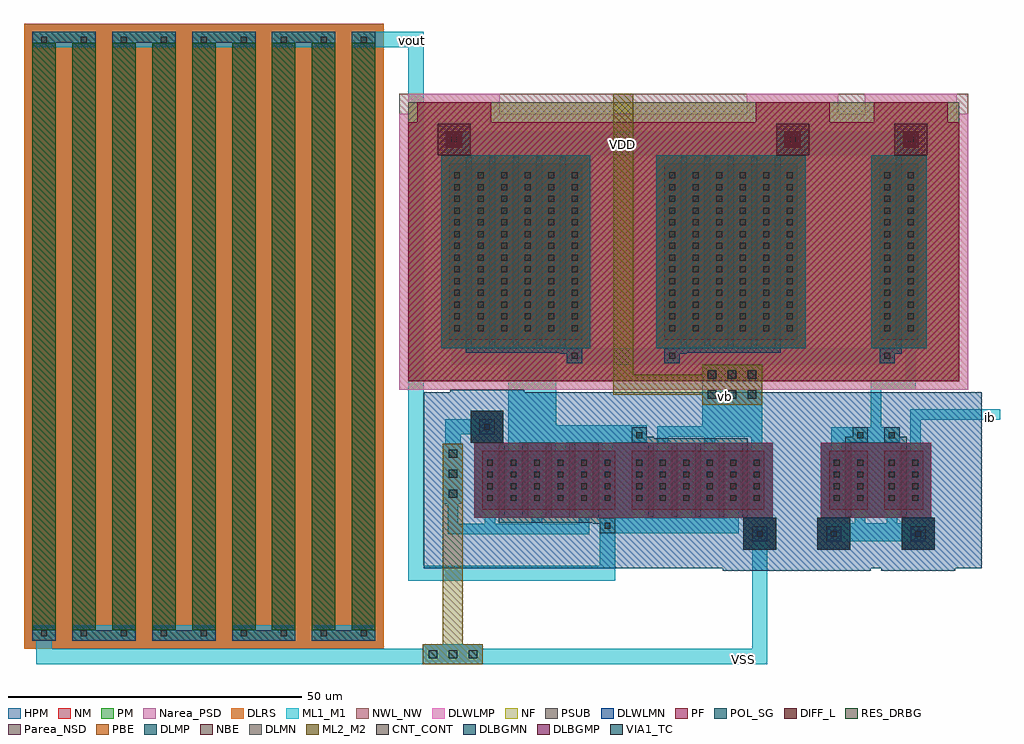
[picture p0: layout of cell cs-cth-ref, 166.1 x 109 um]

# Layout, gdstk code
from math import pi, radians
import gdstk
lib = gdstk.Library(unit=1e-6, precision=1e-07)
def R(c, l, rs):  # rectangles x0, y0, x1, y1
    for r in rs: c.add(gdstk.rectangle(r[:2], r[2:], *l))
def A(c, l, x, y, w, h, nx, ny, dx, dy):  # array of equal rectangles
    R(c, l, [(x+i*dx, y+j*dy, x+i*dx+w, y+j*dy+h) for i in range(nx) for j in range(ny)])
DIFF_L = (3, 0)
NM = (7, 0)
POL_SG = (8, 0)
Narea_PSD = (9, 0)
CNT_CONT = (11, 0)
ML1_M1 = (13, 0)
VIA1_TC = (19, 0)
ML2_M2 = (20, 0)
NF = (25, 0)
PF = (26, 0)
Parea_NSD = (28, 0)
HPM = (33, 0)
PM = (35, 0)
NWL_NW = (36, 0)
RES_DRBG = (118, 0)
PSUB = (140, 0)
PBE = (146, 0)
NBE = (147, 0)
DLWLMP = (150, 0)
DLWLMN = (151, 0)
DLMP = (157, 0)
DLMN = (158, 0)
DLRS = (165, 0)
DLBGMP = (177, 0)
DLBGMN = (178, 0)

dcont = lib.new_cell('dcont')
R(dcont, DIFF_L, [(-1.3,-1.3,1.3,1.3)])
R(dcont, CNT_CONT, [(-0.5,-0.5,0.5,0.5)])
R(dcont, ML1_M1, [(-1.3,-1.3,1.3,1.3), (-0.5,-0.5,0.5,0.5)])

pcont = lib.new_cell('pcont')
R(pcont, POL_SG, [(-1.3,-1.3,1.3,1.3)])
R(pcont, CNT_CONT, [(-0.5,-0.5,0.5,0.5)])
R(pcont, ML1_M1, [(-1.3,-1.3,1.3,1.3), (-0.5,-0.5,0.5,0.5)])

c_dcont = lib.new_cell('DCONT')
R(c_dcont, DIFF_L, [(-1.3,-1.3,1.3,1.3)])
R(c_dcont, CNT_CONT, [(-0.5,-0.5,0.5,0.5)])
R(c_dcont, ML1_M1, [(-1.3,-1.3,1.3,1.3), (-0.5,-0.5,0.5,0.5)])

psubcont = lib.new_cell('psubcont')
R(psubcont, NM, [(-2.8,-2.7,2.8,2.7)])
R(psubcont, Parea_NSD, [(-2.8,-2.7,2.8,2.7)])
R(psubcont, HPM, [(-2.8,-2.7,2.8,2.7)])
R(psubcont, PM, [(-2.8,-2.7,2.8,2.7)])
R(psubcont, DLWLMN, [(-6.3,-6.3,6.3,6.3)])
R(psubcont, DLBGMN, [(-2.8,-2.7,2.8,2.7)])
psubcont.add(gdstk.Reference(c_dcont, (0,0)))

c_mn = lib.new_cell('MN')
R(c_mn, DIFF_L, [(0,3.6,6.6,13.6)])
R(c_mn, Narea_PSD, [(-1.4,2.2,8,15)])
R(c_mn, HPM, [(-1.4,2.2,8,15)])
R(c_mn, PM, [(-1.4,2.2,8,15)])
R(c_mn, NBE, [(-1.4,2.2,8,15)])
R(c_mn, DLWLMN, [(-10,-6.4,16.6,23.6)])
R(c_mn, DLMN, [(-1.4,2.2,8,15)])
c_mn.add(gdstk.FlexPath([(1.3,3.6),(1.3,13.6)], 2.6, ends="flush", simple_path=True, layer=13, datatype=0))  # ML1_M1
c_mn.add(gdstk.FlexPath([(5.3,3.6),(5.3,13.6)], 2.6, ends="flush", simple_path=True, layer=13, datatype=0))  # ML1_M1
c_mn.add(gdstk.FlexPath([(1.3,1.3),(1.3,4.6)], 1.8, ends="flush", simple_path=True, layer=13, datatype=0))  # ML1_M1
c_mn.add(gdstk.FlexPath([(5.3,12.6),(5.3,15.9)], 1.8, ends="flush", simple_path=True, layer=13, datatype=0))  # ML1_M1
c_mn.add(gdstk.FlexPath([(3.3,3.6),(3.3,13.6)], 1, ends=(1.2, 1.2), simple_path=True, layer=8, datatype=0))  # POL_SG
c_mn.add(gdstk.FlexPath([(1.3,15.5),(3.3,15.5),(3.3,14.8)], 1, ends="flush", simple_path=True, layer=8, datatype=0))  # POL_SG
c_mn.add(gdstk.Reference(dcont, (1.3,5.6)))
c_mn.add(gdstk.Reference(dcont, (1.3,7.6)))
c_mn.add(gdstk.Reference(dcont, (1.3,9.6)))
c_mn.add(gdstk.Reference(dcont, (1.3,11.6)))
c_mn.add(gdstk.Reference(dcont, (5.3,5.6)))
c_mn.add(gdstk.Reference(dcont, (5.3,7.6)))
c_mn.add(gdstk.Reference(dcont, (5.3,9.6)))
c_mn.add(gdstk.Reference(dcont, (5.3,11.6)))
c_mn.add(gdstk.Reference(pcont, (1.3,16.3)))
c_mn.add(gdstk.Reference(psubcont, (5.8,-0.5)))

nsubcont = lib.new_cell('nsubcont')
R(nsubcont, NM, [(-2.8,-2.7,2.8,2.7)])
R(nsubcont, Narea_PSD, [(-2.8,-2.7,2.8,2.7)])
R(nsubcont, NF, [(-6.3,-6.3,6.3,6.3)])
R(nsubcont, PF, [(-6.3,-6.3,6.3,6.3)])
R(nsubcont, HPM, [(-2.8,-2.7,2.8,2.7)])
R(nsubcont, PM, [(-2.8,-2.7,2.8,2.7)])
R(nsubcont, NWL_NW, [(-7.8,-7.8,7.8,7.8)])
R(nsubcont, PSUB, [(-6.3,-6.3,6.3,6.3)])
R(nsubcont, DLWLMP, [(-7.8,-7.8,7.8,7.8)])
R(nsubcont, DLBGMP, [(-2.8,-2.7,2.8,2.7)])
nsubcont.add(gdstk.Reference(c_dcont, (0,0)))

mp_1 = lib.new_cell('MP$1')
R(mp_1, DIFF_L, [(0,3.6,6.6,33.6)])
R(mp_1, NM, [(-1.4,2.2,8,35)])
R(mp_1, NF, [(-7,-3.4,13.6,40.6)])
R(mp_1, PF, [(-7,-3.4,13.6,40.6)])
R(mp_1, Parea_NSD, [(-1.4,2.2,8,35)])
R(mp_1, HPM, [(-1.4,2.2,8,35)])
R(mp_1, NWL_NW, [(-8.5,-4.9,15.1,42.1)])
R(mp_1, PSUB, [(-7,-3.4,13.6,40.6)])
R(mp_1, PBE, [(-1.4,2.2,8,35)])
R(mp_1, DLWLMP, [(-8.5,-4.9,15.1,42.1)])
R(mp_1, DLMP, [(-1.4,2.2,8,35)])
mp_1.add(gdstk.FlexPath([(1.3,3.6),(1.3,33.6)], 2.6, ends="flush", simple_path=True, layer=13, datatype=0))  # ML1_M1
mp_1.add(gdstk.FlexPath([(5.3,3.6),(5.3,33.6)], 2.6, ends="flush", simple_path=True, layer=13, datatype=0))  # ML1_M1
mp_1.add(gdstk.FlexPath([(1.3,32.6),(1.3,35.9)], 1.8, ends="flush", simple_path=True, layer=13, datatype=0))  # ML1_M1
mp_1.add(gdstk.FlexPath([(5.3,1.3),(5.3,4.6)], 1.8, ends="flush", simple_path=True, layer=13, datatype=0))  # ML1_M1
mp_1.add(gdstk.FlexPath([(3.3,3.6),(3.3,33.6)], 1, ends=(1.2, 1.2), simple_path=True, layer=8, datatype=0))  # POL_SG
mp_1.add(gdstk.FlexPath([(1.3,1.7),(3.3,1.7),(3.3,2.4)], 1, ends="flush", simple_path=True, layer=8, datatype=0))  # POL_SG
mp_1.add(gdstk.Reference(dcont, (1.3,5.6)))
mp_1.add(gdstk.Reference(dcont, (1.3,7.6)))
mp_1.add(gdstk.Reference(dcont, (1.3,9.6)))
mp_1.add(gdstk.Reference(dcont, (1.3,11.6)))
mp_1.add(gdstk.Reference(dcont, (1.3,13.6)))
mp_1.add(gdstk.Reference(dcont, (1.3,15.6)))
mp_1.add(gdstk.Reference(dcont, (1.3,17.6)))
mp_1.add(gdstk.Reference(dcont, (1.3,19.6)))
mp_1.add(gdstk.Reference(dcont, (1.3,21.6)))
mp_1.add(gdstk.Reference(dcont, (1.3,23.6)))
mp_1.add(gdstk.Reference(dcont, (1.3,25.6)))
mp_1.add(gdstk.Reference(dcont, (1.3,27.6)))
mp_1.add(gdstk.Reference(dcont, (1.3,29.6)))
mp_1.add(gdstk.Reference(dcont, (1.3,31.6)))
mp_1.add(gdstk.Reference(dcont, (5.3,5.6)))
mp_1.add(gdstk.Reference(dcont, (5.3,7.6)))
mp_1.add(gdstk.Reference(dcont, (5.3,9.6)))
mp_1.add(gdstk.Reference(dcont, (5.3,11.6)))
mp_1.add(gdstk.Reference(dcont, (5.3,13.6)))
mp_1.add(gdstk.Reference(dcont, (5.3,15.6)))
mp_1.add(gdstk.Reference(dcont, (5.3,17.6)))
mp_1.add(gdstk.Reference(dcont, (5.3,19.6)))
mp_1.add(gdstk.Reference(dcont, (5.3,21.6)))
mp_1.add(gdstk.Reference(dcont, (5.3,23.6)))
mp_1.add(gdstk.Reference(dcont, (5.3,25.6)))
mp_1.add(gdstk.Reference(dcont, (5.3,27.6)))
mp_1.add(gdstk.Reference(dcont, (5.3,29.6)))
mp_1.add(gdstk.Reference(dcont, (5.3,31.6)))
mp_1.add(gdstk.Reference(pcont, (1.3,0.9)))
mp_1.add(gdstk.Reference(nsubcont, (5.3,37.7)))

mn_1 = lib.new_cell('MN$1')
R(mn_1, DIFF_L, [(0,3.6,22.6,13.6)])
R(mn_1, Narea_PSD, [(-1.4,2.2,24,15)])
R(mn_1, HPM, [(-1.4,2.2,24,15)])
R(mn_1, PM, [(-1.4,2.2,24,15)])
R(mn_1, NBE, [(-1.4,2.2,24,15)])
R(mn_1, DLWLMN, [(-10,-6.4,32.6,23.6)])
R(mn_1, DLMN, [(-1.4,2.2,24,15)])
mn_1.add(gdstk.FlexPath([(1.3,3.6),(1.3,13.6)], 2.6, ends="flush", simple_path=True, layer=13, datatype=0))  # ML1_M1
mn_1.add(gdstk.FlexPath([(5.3,3.6),(5.3,13.6)], 2.6, ends="flush", simple_path=True, layer=13, datatype=0))  # ML1_M1
mn_1.add(gdstk.FlexPath([(9.3,3.6),(9.3,13.6)], 2.6, ends="flush", simple_path=True, layer=13, datatype=0))  # ML1_M1
mn_1.add(gdstk.FlexPath([(13.3,3.6),(13.3,13.6)], 2.6, ends="flush", simple_path=True, layer=13, datatype=0))  # ML1_M1
mn_1.add(gdstk.FlexPath([(17.3,3.6),(17.3,13.6)], 2.6, ends="flush", simple_path=True, layer=13, datatype=0))  # ML1_M1
mn_1.add(gdstk.FlexPath([(21.3,3.6),(21.3,13.6)], 2.6, ends="flush", simple_path=True, layer=13, datatype=0))  # ML1_M1
mn_1.add(gdstk.FlexPath([(1.3,1.3),(1.3,4.6)], 1.8, ends="flush", simple_path=True, layer=13, datatype=0))  # ML1_M1
mn_1.add(gdstk.FlexPath([(5.3,12.6),(5.3,16.9)], 1.8, ends="flush", simple_path=True, layer=13, datatype=0))  # ML1_M1
mn_1.add(gdstk.FlexPath([(9.3,1.3),(9.3,4.6)], 1.8, ends="flush", simple_path=True, layer=13, datatype=0))  # ML1_M1
mn_1.add(gdstk.FlexPath([(1.3,1.3),(9.3,1.3)], 1.8, ends="extended", simple_path=True, layer=13, datatype=0))  # ML1_M1
mn_1.add(gdstk.FlexPath([(13.3,12.6),(13.3,16.9)], 1.8, ends="flush", simple_path=True, layer=13, datatype=0))  # ML1_M1
mn_1.add(gdstk.FlexPath([(5.3,16.9),(13.3,16.9)], 1.8, ends="extended", simple_path=True, layer=13, datatype=0))  # ML1_M1
mn_1.add(gdstk.FlexPath([(17.3,1.3),(17.3,4.6)], 1.8, ends="flush", simple_path=True, layer=13, datatype=0))  # ML1_M1
mn_1.add(gdstk.FlexPath([(9.3,1.3),(17.3,1.3)], 1.8, ends="extended", simple_path=True, layer=13, datatype=0))  # ML1_M1
mn_1.add(gdstk.FlexPath([(21.3,12.6),(21.3,16.9)], 1.8, ends="flush", simple_path=True, layer=13, datatype=0))  # ML1_M1
mn_1.add(gdstk.FlexPath([(13.3,16.9),(21.3,16.9)], 1.8, ends="extended", simple_path=True, layer=13, datatype=0))  # ML1_M1
mn_1.add(gdstk.FlexPath([(3.3,3.6),(3.3,13.6)], 1, ends=(1.2, 1.2), simple_path=True, layer=8, datatype=0))  # POL_SG
mn_1.add(gdstk.FlexPath([(7.3,3.6),(7.3,13.6)], 1, ends=(1.2, 1.2), simple_path=True, layer=8, datatype=0))  # POL_SG
mn_1.add(gdstk.FlexPath([(11.3,3.6),(11.3,13.6)], 1, ends=(1.2, 1.2), simple_path=True, layer=8, datatype=0))  # POL_SG
mn_1.add(gdstk.FlexPath([(15.3,3.6),(15.3,13.6)], 1, ends=(1.2, 1.2), simple_path=True, layer=8, datatype=0))  # POL_SG
mn_1.add(gdstk.FlexPath([(19.3,3.6),(19.3,13.6)], 1, ends=(1.2, 1.2), simple_path=True, layer=8, datatype=0))  # POL_SG
mn_1.add(gdstk.FlexPath([(1.3,15.5),(3.3,15.5),(3.3,14.8)], 1, ends="flush", simple_path=True, layer=8, datatype=0))  # POL_SG
mn_1.add(gdstk.FlexPath([(2.8,15.3),(7.8,15.3)], 1, ends="flush", simple_path=True, layer=8, datatype=0))  # POL_SG
mn_1.add(gdstk.FlexPath([(6.8,15.3),(11.8,15.3)], 1, ends="flush", simple_path=True, layer=8, datatype=0))  # POL_SG
mn_1.add(gdstk.FlexPath([(10.8,15.3),(15.8,15.3)], 1, ends="flush", simple_path=True, layer=8, datatype=0))  # POL_SG
mn_1.add(gdstk.FlexPath([(14.8,15.3),(19.8,15.3)], 1, ends="flush", simple_path=True, layer=8, datatype=0))  # POL_SG
mn_1.add(gdstk.Reference(dcont, (1.3,5.6)))
mn_1.add(gdstk.Reference(dcont, (1.3,7.6)))
mn_1.add(gdstk.Reference(dcont, (1.3,9.6)))
mn_1.add(gdstk.Reference(dcont, (1.3,11.6)))
mn_1.add(gdstk.Reference(dcont, (5.3,5.6)))
mn_1.add(gdstk.Reference(dcont, (5.3,7.6)))
mn_1.add(gdstk.Reference(dcont, (5.3,9.6)))
mn_1.add(gdstk.Reference(dcont, (5.3,11.6)))
mn_1.add(gdstk.Reference(dcont, (9.3,5.6)))
mn_1.add(gdstk.Reference(dcont, (9.3,7.6)))
mn_1.add(gdstk.Reference(dcont, (9.3,9.6)))
mn_1.add(gdstk.Reference(dcont, (9.3,11.6)))
mn_1.add(gdstk.Reference(dcont, (13.3,5.6)))
mn_1.add(gdstk.Reference(dcont, (13.3,7.6)))
mn_1.add(gdstk.Reference(dcont, (13.3,9.6)))
mn_1.add(gdstk.Reference(dcont, (13.3,11.6)))
mn_1.add(gdstk.Reference(dcont, (17.3,5.6)))
mn_1.add(gdstk.Reference(dcont, (17.3,7.6)))
mn_1.add(gdstk.Reference(dcont, (17.3,9.6)))
mn_1.add(gdstk.Reference(dcont, (17.3,11.6)))
mn_1.add(gdstk.Reference(dcont, (21.3,5.6)))
mn_1.add(gdstk.Reference(dcont, (21.3,7.6)))
mn_1.add(gdstk.Reference(dcont, (21.3,9.6)))
mn_1.add(gdstk.Reference(dcont, (21.3,11.6)))
mn_1.add(gdstk.Reference(pcont, (1.3,16.3)))
mn_1.add(gdstk.Reference(psubcont, (21.8,-0.5)))

c_mp = lib.new_cell('MP')
R(c_mp, DIFF_L, [(0,3.6,22.6,33.6)])
R(c_mp, NM, [(-1.4,2.2,24,35)])
R(c_mp, NF, [(-7,-3.4,29.6,40.6)])
R(c_mp, PF, [(-7,-3.4,29.6,40.6)])
R(c_mp, Parea_NSD, [(-1.4,2.2,24,35)])
R(c_mp, HPM, [(-1.4,2.2,24,35)])
R(c_mp, NWL_NW, [(-8.5,-4.9,31.1,42.1)])
R(c_mp, PSUB, [(-7,-3.4,29.6,40.6)])
R(c_mp, PBE, [(-1.4,2.2,24,35)])
R(c_mp, DLWLMP, [(-8.5,-4.9,31.1,42.1)])
R(c_mp, DLMP, [(-1.4,2.2,24,35)])
c_mp.add(gdstk.FlexPath([(1.3,3.6),(1.3,33.6)], 2.6, ends="flush", simple_path=True, layer=13, datatype=0))  # ML1_M1
c_mp.add(gdstk.FlexPath([(5.3,3.6),(5.3,33.6)], 2.6, ends="flush", simple_path=True, layer=13, datatype=0))  # ML1_M1
c_mp.add(gdstk.FlexPath([(9.3,3.6),(9.3,33.6)], 2.6, ends="flush", simple_path=True, layer=13, datatype=0))  # ML1_M1
c_mp.add(gdstk.FlexPath([(13.3,3.6),(13.3,33.6)], 2.6, ends="flush", simple_path=True, layer=13, datatype=0))  # ML1_M1
c_mp.add(gdstk.FlexPath([(17.3,3.6),(17.3,33.6)], 2.6, ends="flush", simple_path=True, layer=13, datatype=0))  # ML1_M1
c_mp.add(gdstk.FlexPath([(21.3,3.6),(21.3,33.6)], 2.6, ends="flush", simple_path=True, layer=13, datatype=0))  # ML1_M1
c_mp.add(gdstk.FlexPath([(1.3,32.6),(1.3,35.9)], 1.8, ends="flush", simple_path=True, layer=13, datatype=0))  # ML1_M1
c_mp.add(gdstk.FlexPath([(5.3,0.3),(5.3,4.6)], 1.8, ends="flush", simple_path=True, layer=13, datatype=0))  # ML1_M1
c_mp.add(gdstk.FlexPath([(9.3,32.6),(9.3,35.9)], 1.8, ends="flush", simple_path=True, layer=13, datatype=0))  # ML1_M1
c_mp.add(gdstk.FlexPath([(1.3,35.9),(9.3,35.9)], 1.8, ends="extended", simple_path=True, layer=13, datatype=0))  # ML1_M1
c_mp.add(gdstk.FlexPath([(13.3,0.3),(13.3,4.6)], 1.8, ends="flush", simple_path=True, layer=13, datatype=0))  # ML1_M1
c_mp.add(gdstk.FlexPath([(5.3,0.3),(13.3,0.3)], 1.8, ends="extended", simple_path=True, layer=13, datatype=0))  # ML1_M1
c_mp.add(gdstk.FlexPath([(17.3,32.6),(17.3,35.9)], 1.8, ends="flush", simple_path=True, layer=13, datatype=0))  # ML1_M1
c_mp.add(gdstk.FlexPath([(9.3,35.9),(17.3,35.9)], 1.8, ends="extended", simple_path=True, layer=13, datatype=0))  # ML1_M1
c_mp.add(gdstk.FlexPath([(21.3,0.3),(21.3,4.6)], 1.8, ends="flush", simple_path=True, layer=13, datatype=0))  # ML1_M1
c_mp.add(gdstk.FlexPath([(13.3,0.3),(21.3,0.3)], 1.8, ends="extended", simple_path=True, layer=13, datatype=0))  # ML1_M1
c_mp.add(gdstk.FlexPath([(3.3,3.6),(3.3,33.6)], 1, ends=(1.2, 1.2), simple_path=True, layer=8, datatype=0))  # POL_SG
c_mp.add(gdstk.FlexPath([(7.3,3.6),(7.3,33.6)], 1, ends=(1.2, 1.2), simple_path=True, layer=8, datatype=0))  # POL_SG
c_mp.add(gdstk.FlexPath([(11.3,3.6),(11.3,33.6)], 1, ends=(1.2, 1.2), simple_path=True, layer=8, datatype=0))  # POL_SG
c_mp.add(gdstk.FlexPath([(15.3,3.6),(15.3,33.6)], 1, ends=(1.2, 1.2), simple_path=True, layer=8, datatype=0))  # POL_SG
c_mp.add(gdstk.FlexPath([(19.3,3.6),(19.3,33.6)], 1, ends=(1.2, 1.2), simple_path=True, layer=8, datatype=0))  # POL_SG
c_mp.add(gdstk.FlexPath([(1.3,1.7),(3.3,1.7),(3.3,2.4)], 1, ends="flush", simple_path=True, layer=8, datatype=0))  # POL_SG
c_mp.add(gdstk.FlexPath([(2.8,1.9),(7.8,1.9)], 1, ends="flush", simple_path=True, layer=8, datatype=0))  # POL_SG
c_mp.add(gdstk.FlexPath([(6.8,1.9),(11.8,1.9)], 1, ends="flush", simple_path=True, layer=8, datatype=0))  # POL_SG
c_mp.add(gdstk.FlexPath([(10.8,1.9),(15.8,1.9)], 1, ends="flush", simple_path=True, layer=8, datatype=0))  # POL_SG
c_mp.add(gdstk.FlexPath([(14.8,1.9),(19.8,1.9)], 1, ends="flush", simple_path=True, layer=8, datatype=0))  # POL_SG
c_mp.add(gdstk.Reference(dcont, (1.3,5.6)))
c_mp.add(gdstk.Reference(dcont, (1.3,7.6)))
c_mp.add(gdstk.Reference(dcont, (1.3,9.6)))
c_mp.add(gdstk.Reference(dcont, (1.3,11.6)))
c_mp.add(gdstk.Reference(dcont, (1.3,13.6)))
c_mp.add(gdstk.Reference(dcont, (1.3,15.6)))
c_mp.add(gdstk.Reference(dcont, (1.3,17.6)))
c_mp.add(gdstk.Reference(dcont, (1.3,19.6)))
c_mp.add(gdstk.Reference(dcont, (1.3,21.6)))
c_mp.add(gdstk.Reference(dcont, (1.3,23.6)))
c_mp.add(gdstk.Reference(dcont, (1.3,25.6)))
c_mp.add(gdstk.Reference(dcont, (1.3,27.6)))
c_mp.add(gdstk.Reference(dcont, (1.3,29.6)))
c_mp.add(gdstk.Reference(dcont, (1.3,31.6)))
c_mp.add(gdstk.Reference(dcont, (5.3,5.6)))
c_mp.add(gdstk.Reference(dcont, (5.3,7.6)))
c_mp.add(gdstk.Reference(dcont, (5.3,9.6)))
c_mp.add(gdstk.Reference(dcont, (5.3,11.6)))
c_mp.add(gdstk.Reference(dcont, (5.3,13.6)))
c_mp.add(gdstk.Reference(dcont, (5.3,15.6)))
c_mp.add(gdstk.Reference(dcont, (5.3,17.6)))
c_mp.add(gdstk.Reference(dcont, (5.3,19.6)))
c_mp.add(gdstk.Reference(dcont, (5.3,21.6)))
c_mp.add(gdstk.Reference(dcont, (5.3,23.6)))
c_mp.add(gdstk.Reference(dcont, (5.3,25.6)))
c_mp.add(gdstk.Reference(dcont, (5.3,27.6)))
c_mp.add(gdstk.Reference(dcont, (5.3,29.6)))
c_mp.add(gdstk.Reference(dcont, (5.3,31.6)))
c_mp.add(gdstk.Reference(dcont, (9.3,5.6)))
c_mp.add(gdstk.Reference(dcont, (9.3,7.6)))
c_mp.add(gdstk.Reference(dcont, (9.3,9.6)))
c_mp.add(gdstk.Reference(dcont, (9.3,11.6)))
c_mp.add(gdstk.Reference(dcont, (9.3,13.6)))
c_mp.add(gdstk.Reference(dcont, (9.3,15.6)))
c_mp.add(gdstk.Reference(dcont, (9.3,17.6)))
c_mp.add(gdstk.Reference(dcont, (9.3,19.6)))
c_mp.add(gdstk.Reference(dcont, (9.3,21.6)))
c_mp.add(gdstk.Reference(dcont, (9.3,23.6)))
c_mp.add(gdstk.Reference(dcont, (9.3,25.6)))
c_mp.add(gdstk.Reference(dcont, (9.3,27.6)))
c_mp.add(gdstk.Reference(dcont, (9.3,29.6)))
c_mp.add(gdstk.Reference(dcont, (9.3,31.6)))
c_mp.add(gdstk.Reference(dcont, (13.3,5.6)))
c_mp.add(gdstk.Reference(dcont, (13.3,7.6)))
c_mp.add(gdstk.Reference(dcont, (13.3,9.6)))
c_mp.add(gdstk.Reference(dcont, (13.3,11.6)))
c_mp.add(gdstk.Reference(dcont, (13.3,13.6)))
c_mp.add(gdstk.Reference(dcont, (13.3,15.6)))
c_mp.add(gdstk.Reference(dcont, (13.3,17.6)))
c_mp.add(gdstk.Reference(dcont, (13.3,19.6)))
c_mp.add(gdstk.Reference(dcont, (13.3,21.6)))
c_mp.add(gdstk.Reference(dcont, (13.3,23.6)))
c_mp.add(gdstk.Reference(dcont, (13.3,25.6)))
c_mp.add(gdstk.Reference(dcont, (13.3,27.6)))
c_mp.add(gdstk.Reference(dcont, (13.3,29.6)))
c_mp.add(gdstk.Reference(dcont, (13.3,31.6)))
c_mp.add(gdstk.Reference(dcont, (17.3,5.6)))
c_mp.add(gdstk.Reference(dcont, (17.3,7.6)))
c_mp.add(gdstk.Reference(dcont, (17.3,9.6)))
c_mp.add(gdstk.Reference(dcont, (17.3,11.6)))
c_mp.add(gdstk.Reference(dcont, (17.3,13.6)))
c_mp.add(gdstk.Reference(dcont, (17.3,15.6)))
c_mp.add(gdstk.Reference(dcont, (17.3,17.6)))
c_mp.add(gdstk.Reference(dcont, (17.3,19.6)))
c_mp.add(gdstk.Reference(dcont, (17.3,21.6)))
c_mp.add(gdstk.Reference(dcont, (17.3,23.6)))
c_mp.add(gdstk.Reference(dcont, (17.3,25.6)))
c_mp.add(gdstk.Reference(dcont, (17.3,27.6)))
c_mp.add(gdstk.Reference(dcont, (17.3,29.6)))
c_mp.add(gdstk.Reference(dcont, (17.3,31.6)))
c_mp.add(gdstk.Reference(dcont, (21.3,5.6)))
c_mp.add(gdstk.Reference(dcont, (21.3,7.6)))
c_mp.add(gdstk.Reference(dcont, (21.3,9.6)))
c_mp.add(gdstk.Reference(dcont, (21.3,11.6)))
c_mp.add(gdstk.Reference(dcont, (21.3,13.6)))
c_mp.add(gdstk.Reference(dcont, (21.3,15.6)))
c_mp.add(gdstk.Reference(dcont, (21.3,17.6)))
c_mp.add(gdstk.Reference(dcont, (21.3,19.6)))
c_mp.add(gdstk.Reference(dcont, (21.3,21.6)))
c_mp.add(gdstk.Reference(dcont, (21.3,23.6)))
c_mp.add(gdstk.Reference(dcont, (21.3,25.6)))
c_mp.add(gdstk.Reference(dcont, (21.3,27.6)))
c_mp.add(gdstk.Reference(dcont, (21.3,29.6)))
c_mp.add(gdstk.Reference(dcont, (21.3,31.6)))
c_mp.add(gdstk.Reference(pcont, (1.3,0.9)))
c_mp.add(gdstk.Reference(nsubcont, (21.8,37.7)))

rs_1 = lib.new_cell('RS$1')
R(rs_1, NM, [(-1.4,-1.4,105,5.4)])
R(rs_1, POL_SG, [(0,0,103.6,4)])
R(rs_1, Narea_PSD, [(-1.4,-1.4,105,5.4)])
R(rs_1, CNT_CONT, [(0.8,1.5,1.8,2.5), (101.8,1.5,102.8,2.5)])
R(rs_1, ML1_M1, [(0,0,2.6,4), (101,0,103.6,4)])
R(rs_1, HPM, [(-1.4,-1.4,105,5.4)])
R(rs_1, PM, [(-1.4,-1.4,105,5.4)])
R(rs_1, RES_DRBG, [(1.8,0,101.8,4)])
R(rs_1, DLRS, [(-1.4,-1.4,105,5.4)])
rs_1.add(gdstk.Label('RS', (51.8,2), layer=118, texttype=0))

via = lib.new_cell('Via')
R(via, ML1_M1, [(-1.7,-1.7,1.7,1.7)])
R(via, VIA1_TC, [(-0.7,-0.7,0.7,0.7)])
R(via, ML2_M2, [(-1.7,-1.7,1.7,1.7)])

cs_cth_ref = lib.new_cell('cs-cth-ref')
A(cs_cth_ref, POL_SG, -214.2, -19.8, 10.8, 1.8, 4, 1, 13.6, 0)
A(cs_cth_ref, POL_SG, -221, 82, 10.8, 1.8, 4, 1, 13.6, 0)
A(cs_cth_ref, ML1_M1, -214.2, -19.8, 10.8, 2.6, 4, 1, 13.6, 0)
A(cs_cth_ref, ML1_M1, -221, 81.2, 10.8, 2.6, 4, 1, 13.6, 0)
R(cs_cth_ref, ML1_M1, [(-85.9,-2.9,-68.9,0.2), (-124.4,-1.5,-100.8,1.1), (-140,13.9,-131.8,29), (-131.8,13.9,-116.4,16.9), (-85,13.9,-81.4,16.5), (-81.4,13.9,-73.4,16.5), (-107,16.7,-96.8,27.2), (-130,27.2,-109,30), (-93,27.2,-74.2,30), (-130,27.4,-110.8,30), (-150.5,62.8,-70.2,66.8)])
R(cs_cth_ref, NF, [(-157,68.4,-63.2,71.8)])
R(cs_cth_ref, NWL_NW, [(-158.5,69.9,-61.7,73.3)])
R(cs_cth_ref, PSUB, [(-157,68.4,-63.2,71.8)])
cs_cth_ref.add(gdstk.FlexPath([(-149.4,7.4),(-149.4,-0.8),(-142.2,-0.8)], 1.8, ends="flush", simple_path=True, layer=13, datatype=0))  # ML1_M1
cs_cth_ref.add(gdstk.FlexPath([(-164.1,82.5),(-155.7,82.5),(-155.7,-8.3),(-123.1,-8.3),(-123.1,1.1)], 2.6, ends="flush", simple_path=True, layer=13, datatype=0))  # ML1_M1
cs_cth_ref.add(gdstk.FlexPath([(-219,-18.5),(-219,-22.5),(-97.2,-22.5),(-97.2,-0.3)], 2.6, ends="flush", simple_path=True, layer=13, datatype=0))  # ML1_M1
cs_cth_ref.add(gdstk.FlexPath([(-142.3,16.6),(-149.4,16.6),(-149.4,6.9)], 2.6, ends="flush", simple_path=True, layer=13, datatype=0))  # ML1_M1
cs_cth_ref.add(gdstk.FlexPath([(-71.5,29.2),(-71.5,23.8),(-77.4,23.8),(-77.4,14.2)], 1.8, ends="flush", simple_path=True, layer=13, datatype=0))  # ML1_M1
cs_cth_ref.add(gdstk.FlexPath([(-75.5,63.4),(-75.5,65.5),(-70.2,65.5)], 1.8, ends="flush", simple_path=True, layer=13, datatype=0))  # ML1_M1
cs_cth_ref.add(gdstk.FlexPath([(-70.7,14.4),(-70.7,18.7),(-56.3,18.7)], 1.8, ends="flush", simple_path=True, layer=13, datatype=0))  # ML1_M1
cs_cth_ref.add(gdstk.FlexPath([(-103.6,23.8),(-120.4,23.8),(-120.4,73.3)], 3.4, ends="flush", simple_path=True, layer=20, datatype=0))  # ML2_M2
cs_cth_ref.add(gdstk.FlexPath([(-149.4,8.6),(-149.4,-22.9)], 3.4, ends="flush", simple_path=True, layer=20, datatype=0))  # ML2_M2
cs_cth_ref.add(gdstk.Reference(c_mn, (-78.8,-1.1), rotation=pi, x_reflection=True))
cs_cth_ref.add(gdstk.Reference(c_mn, (-76,-1.1)))
cs_cth_ref.add(gdstk.Reference(mp_1, (-76.8,27.8)))
cs_cth_ref.add(gdstk.Reference(mn_1, (-119,-1.1)))
cs_cth_ref.add(gdstk.Reference(c_mp, (-113.4,27.8)))
cs_cth_ref.add(gdstk.Reference(c_mp, (-127.4,27.8), rotation=pi, x_reflection=True))
cs_cth_ref.add(gdstk.Reference(rs_1, (-217,-19.8), rotation=pi/2))
cs_cth_ref.add(gdstk.Reference(rs_1, (-210.2,-19.8), rotation=pi/2))
cs_cth_ref.add(gdstk.Reference(rs_1, (-203.4,-19.8), rotation=pi/2))
cs_cth_ref.add(gdstk.Reference(rs_1, (-196.6,-19.8), rotation=pi/2))
cs_cth_ref.add(gdstk.Reference(rs_1, (-189.8,-19.8), rotation=pi/2))
cs_cth_ref.add(gdstk.Reference(rs_1, (-183,-19.8), rotation=pi/2))
cs_cth_ref.add(gdstk.Reference(rs_1, (-176.2,-19.8), rotation=pi/2))
cs_cth_ref.add(gdstk.Reference(rs_1, (-169.4,-19.8), rotation=pi/2))
cs_cth_ref.add(gdstk.Reference(rs_1, (-162.6,-19.8), rotation=pi/2))
cs_cth_ref.add(gdstk.Reference(mn_1, (-121.8,16.1), rotation=pi))
cs_cth_ref.add(gdstk.Reference(via, (-149.4,8.6)))
cs_cth_ref.add(gdstk.Reference(via, (-149.4,-22.1)))
cs_cth_ref.add(gdstk.Reference(via, (-149.4,12)))
cs_cth_ref.add(gdstk.Reference(via, (-149.4,5.2)))
cs_cth_ref.add(gdstk.Reference(via, (-152.8,-22.1)))
cs_cth_ref.add(gdstk.Reference(via, (-146,-22.1)))
cs_cth_ref.add(gdstk.Reference(via, (-98.5,25.5)))
cs_cth_ref.add(gdstk.Reference(via, (-101.9,25.5)))
cs_cth_ref.add(gdstk.Reference(via, (-105.3,25.5)))
cs_cth_ref.add(gdstk.Reference(via, (-98.5,22.1)))
cs_cth_ref.add(gdstk.Reference(via, (-101.9,22.1)))
cs_cth_ref.add(gdstk.Reference(via, (-105.3,22.1)))
cs_cth_ref.add(gdstk.Label('vout', (-156.2,82.4), layer=13, texttype=0))
cs_cth_ref.add(gdstk.Label('vb', (-103,21.8), layer=13, texttype=0))
cs_cth_ref.add(gdstk.Label('ib', (-58,18.2), layer=13, texttype=0))
cs_cth_ref.add(gdstk.Label('VDD', (-120.5,64.6), layer=13, texttype=0))
cs_cth_ref.add(gdstk.Label('VSS', (-99.9,-23), layer=13, texttype=0))

lib.write_gds('cs-cth-ref.gds')
